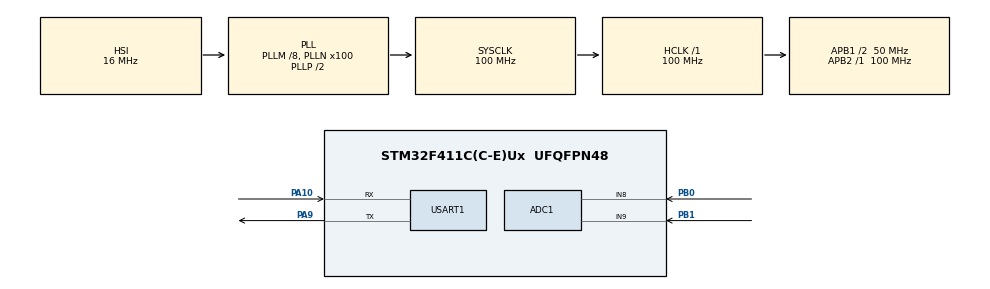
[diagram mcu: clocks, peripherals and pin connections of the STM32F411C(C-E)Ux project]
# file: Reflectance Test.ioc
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ADC1.Channel-0\#ChannelRegularConversion=ADC_CHANNEL_8
ADC1.Channel-1\#ChannelRegularConversion=ADC_CHANNEL_9
ADC1.ContinuousConvMode=ENABLE
ADC1.DMAContinuousRequests=DISABLE
ADC1.NbrOfConversion=2
ADC1.NbrOfConversionFlag=1
ADC1.Rank-0\#ChannelRegularConversion=1
ADC1.Rank-1\#ChannelRegularConversion=2
ADC1.SamplingTime-0\#ChannelRegularConversion=ADC_SAMPLETIME_480CYCLES
ADC1.SamplingTime-1\#ChannelRegularConversion=ADC_SAMPLETIME_480CYCLES
ADC1.master=1
Mcu.Family=STM32F4
Mcu.Name=STM32F411C(C-E)Ux
Mcu.Package=UFQFPN48
NVIC.ADC_IRQn=true\:0\:0\:false\:false\:true\:true\:true\:true
NVIC.PriorityGroup=NVIC_PRIORITYGROUP_4
NVIC.USART1_IRQn=true\:0\:0\:false\:false\:true\:true\:true\:true
PA10.Mode=Asynchronous
PA10.Signal=USART1_RX
PA13.Mode=Serial_Wire
PA13.Signal=SYS_JTMS-SWDIO
PA14.Mode=Serial_Wire
PA14.Signal=SYS_JTCK-SWCLK
PA9.Mode=Asynchronous
PA9.Signal=USART1_TX
PB0.Signal=ADCx_IN8
PB1.Signal=ADCx_IN9
PH0\ -\ OSC_IN.Mode=HSE-External-Oscillator
PH0\ -\ OSC_IN.Signal=RCC_OSC_IN
PH1\ -\ OSC_OUT.Mode=HSE-External-Oscillator
PH1\ -\ OSC_OUT.Signal=RCC_OSC_OUT
ProjectManager.HeapSize=0x200
ProjectManager.StackSize=0x400
ProjectManager.TargetToolchain=STM32CubeIDE
RCC.48MHZClocksFreq_Value=50000000
RCC.AHBFreq_Value=100000000
RCC.APB1CLKDivider=RCC_HCLK_DIV2
RCC.APB1Freq_Value=50000000
RCC.APB1TimFreq_Value=100000000
RCC.APB2Freq_Value=100000000
RCC.APB2TimFreq_Value=100000000
RCC.CortexFreq_Value=100000000
RCC.HCLKFreq_Value=100000000
RCC.HSE_VALUE=25000000
RCC.HSI_VALUE=16000000
RCC.LSE_VALUE=32768
RCC.PLLM=8
RCC.PLLN=100
RCC.SYSCLKFreq_VALUE=100000000
RCC.SYSCLKSource=RCC_SYSCLKSOURCE_PLLCLK
RCC.VCOOutputFreq_Value=200000000
SH.ADCx_IN8.0=ADC1_IN8,IN8
SH.ADCx_IN9.0=ADC1_IN9,IN9
USART1.VirtualMode=VM_ASYNC
board=custom

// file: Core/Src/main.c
/* USER CODE BEGIN Header */
/**
  ******************************************************************************
  * @file           : main.c
  * @brief          : Main program body
  ******************************************************************************
  * @attention
  *
  * Copyright (c) 2022 STMicroelectronics.
  * All rights reserved.
  *
  * This software is licensed under terms that can be found in the LICENSE file
  * in the root directory of this software component.
  * If no LICENSE file comes with this software, it is provided AS-IS.
  *
  ******************************************************************************
  */
/* USER CODE END Header */
#include "main.h"

/* USER CODE BEGIN Includes */
#include "string.h"
#include "stdio.h"
/* USER CODE END Includes */

 ADC_HandleTypeDef hadc1;

UART_HandleTypeDef huart1;

void SystemClock_Config(void);
static void MX_GPIO_Init(void);
static void MX_ADC1_Init(void);
static void MX_USART1_UART_Init(void);

/* USER CODE BEGIN 0 */

void ADC_Select_CH8(void)
{
	  ADC_ChannelConfTypeDef sConfig = {0};
	  sConfig.Channel = ADC_CHANNEL_8;
	  sConfig.Rank = 1;
	  sConfig.SamplingTime = ADC_SAMPLETIME_480CYCLES;
	  if (HAL_ADC_ConfigChannel(&hadc1, &sConfig) != HAL_OK)
	  {
	    Error_Handler();
	  }
}

void ADC_Select_CH9(void)
{
	  ADC_ChannelConfTypeDef sConfig = {0};
	  sConfig.Channel = ADC_CHANNEL_9;
	  sConfig.Rank = 1;
	  sConfig.SamplingTime = ADC_SAMPLETIME_480CYCLES;
	  if (HAL_ADC_ConfigChannel(&hadc1, &sConfig) != HAL_OK)
	  {
	    Error_Handler();
	  }
}

uint16_t ADC_VAL[2] = {0};

/* USER CODE END 0 */

int main(void)
{
  /* USER CODE BEGIN 1 */
	uint8_t buff[24] = {0};
	uint32_t value[2] = {0};
	HAL_StatusTypeDef ret;
  /* USER CODE END 1 */

  /* MCU Configuration--------------------------------------------------------*/

  /* Reset of all peripherals, Initializes the Flash interface and the Systick. */
  HAL_Init();

  /* Configure the system clock */
  SystemClock_Config();

  /* Initialize all configured peripherals */
  MX_GPIO_Init();
  MX_ADC1_Init();
  MX_USART1_UART_Init();

  /* Infinite loop */
  while (1)
  {

    /* USER CODE BEGIN 3 */
	  ADC_Select_CH8();
	  HAL_ADC_Start(&hadc1);
	  HAL_ADC_PollForConversion(&hadc1, 1000);
	  ADC_VAL[0] = HAL_ADC_GetValue(&hadc1);
	  HAL_ADC_Stop(&hadc1);

	  ADC_Select_CH9();
	  HAL_ADC_Start(&hadc1);
	  HAL_ADC_PollForConversion(&hadc1, 1000);
	  ADC_VAL[1] = HAL_ADC_GetValue(&hadc1);
	  HAL_ADC_Stop(&hadc1);

	  sprintf((char*)buff, "B0 Reading: %d\n\rB1 Reading:%d\n\r", ADC_VAL[0], ADC_VAL[1]);
	  ret = HAL_UART_Transmit(&huart1, buff, strlen((char*)buff), HAL_MAX_DELAY);
	  HAL_Delay(100);
  }
  /* USER CODE END 3 */
}

void SystemClock_Config(void)
{
  RCC_OscInitTypeDef RCC_OscInitStruct = {0};
  RCC_ClkInitTypeDef RCC_ClkInitStruct = {0};

  /** Configure the main internal regulator output voltage
  */
  __HAL_RCC_PWR_CLK_ENABLE();
  __HAL_PWR_VOLTAGESCALING_CONFIG(PWR_REGULATOR_VOLTAGE_SCALE1);

  /** Initializes the RCC Oscillators according to the specified parameters
  * in the RCC_OscInitTypeDef structure.
  */
  RCC_OscInitStruct.OscillatorType = RCC_OSCILLATORTYPE_HSI;
  RCC_OscInitStruct.HSIState = RCC_HSI_ON;
  RCC_OscInitStruct.HSICalibrationValue = RCC_HSICALIBRATION_DEFAULT;
  RCC_OscInitStruct.PLL.PLLState = RCC_PLL_ON;
  RCC_OscInitStruct.PLL.PLLSource = RCC_PLLSOURCE_HSI;
  RCC_OscInitStruct.PLL.PLLM = 8;
  RCC_OscInitStruct.PLL.PLLN = 100;
  RCC_OscInitStruct.PLL.PLLP = RCC_PLLP_DIV2;
  RCC_OscInitStruct.PLL.PLLQ = 4;
  if (HAL_RCC_OscConfig(&RCC_OscInitStruct) != HAL_OK)
  {
    Error_Handler();
  }

  /** Initializes the CPU, AHB and APB buses clocks
  */
  RCC_ClkInitStruct.ClockType = RCC_CLOCKTYPE_HCLK|RCC_CLOCKTYPE_SYSCLK
                              |RCC_CLOCKTYPE_PCLK1|RCC_CLOCKTYPE_PCLK2;
  RCC_ClkInitStruct.SYSCLKSource = RCC_SYSCLKSOURCE_PLLCLK;
  RCC_ClkInitStruct.AHBCLKDivider = RCC_SYSCLK_DIV1;
  RCC_ClkInitStruct.APB1CLKDivider = RCC_HCLK_DIV2;
  RCC_ClkInitStruct.APB2CLKDivider = RCC_HCLK_DIV1;

  if (HAL_RCC_ClockConfig(&RCC_ClkInitStruct, FLASH_LATENCY_3) != HAL_OK)
  {
    Error_Handler();
  }
}

static void MX_ADC1_Init(void)
{

  ADC_ChannelConfTypeDef sConfig = {0};

  /** Configure the global features of the ADC (Clock, Resolution, Data Alignment and number of conversion)
  */
  hadc1.Instance = ADC1;
  hadc1.Init.ClockPrescaler = ADC_CLOCK_SYNC_PCLK_DIV4;
  hadc1.Init.Resolution = ADC_RESOLUTION_12B;
  hadc1.Init.ScanConvMode = ENABLE;
  hadc1.Init.ContinuousConvMode = ENABLE;
  hadc1.Init.DiscontinuousConvMode = DISABLE;
  hadc1.Init.ExternalTrigConvEdge = ADC_EXTERNALTRIGCONVEDGE_NONE;
  hadc1.Init.ExternalTrigConv = ADC_SOFTWARE_START;
  hadc1.Init.DataAlign = ADC_DATAALIGN_RIGHT;
  hadc1.Init.NbrOfConversion = 1;
  hadc1.Init.DMAContinuousRequests = DISABLE;
  hadc1.Init.EOCSelection = ADC_EOC_SINGLE_CONV;
  if (HAL_ADC_Init(&hadc1) != HAL_OK)
  {
    Error_Handler();
  }

//  /** Configure for the selected ADC regular channel its corresponding rank in the sequencer and its sample time.
//  */
//  sConfig.Channel = ADC_CHANNEL_8;
//  sConfig.Rank = 1;
//  sConfig.SamplingTime = ADC_SAMPLETIME_480CYCLES;
//  if (HAL_ADC_ConfigChannel(&hadc1, &sConfig) != HAL_OK)
//  {
//    Error_Handler();
//  }
//
//  /** Configure for the selected ADC regular channel its corresponding rank in the sequencer and its sample time.
//  */
//  sConfig.Channel = ADC_CHANNEL_9;
//  sConfig.Rank = 2;
//  if (HAL_ADC_ConfigChannel(&hadc1, &sConfig) != HAL_OK)
//  {
//    Error_Handler();
//  }

}

static void MX_USART1_UART_Init(void)
{

  huart1.Instance = USART1;
  huart1.Init.BaudRate = 115200;
  huart1.Init.WordLength = UART_WORDLENGTH_8B;
  huart1.Init.StopBits = UART_STOPBITS_1;
  huart1.Init.Parity = UART_PARITY_NONE;
  huart1.Init.Mode = UART_MODE_TX_RX;
  huart1.Init.HwFlowCtl = UART_HWCONTROL_NONE;
  huart1.Init.OverSampling = UART_OVERSAMPLING_16;
  if (HAL_UART_Init(&huart1) != HAL_OK)
  {
    Error_Handler();
  }

}

static void MX_GPIO_Init(void)
{

  /* GPIO Ports Clock Enable */
  __HAL_RCC_GPIOH_CLK_ENABLE();
  __HAL_RCC_GPIOB_CLK_ENABLE();
  __HAL_RCC_GPIOA_CLK_ENABLE();

}

/* USER CODE BEGIN 4 */
//void ADC_Select_CH8 (void)
//{
//	ADC_ChannelConfTypeDef sConfig = {0};
//	  /** Configure for the selected ADC regular channel its corresponding rank in the sequencer and its sample time.
//	  */
//
//	  sConfig.Channel = ADC_CHANNEL_8;
//	  sConfig.Rank = 1;
//	  sConfig.SamplingTime = ADC_SAMPLETIME_28CYCLES;
//	  if (HAL_ADC_ConfigChannel(&hadc1, &sConfig) != HAL_OK)
//	  {
//		Error_Handler();
//	  }
//	  sConfig.Channel = ADC_CHANNEL_9;
//	  sConfig.Rank = 0;
//	  sConfig.SamplingTime = ADC_SAMPLETIME_28CYCLES;
//	  if (HAL_ADC_ConfigChannel(&hadc1, &sConfig) != HAL_OK)
//	  {
//		Error_Handler();
//	  }
//}

//void ADC_Select_CH9 (void)
//{
//	ADC_ChannelConfTypeDef sConfig = {0};
//	  /** Configure for the selected ADC regular channel its corresponding rank in the sequencer and its sample time.
//	  */
//
//	  sConfig.Channel = ADC_CHANNEL_8;
//	  sConfig.Rank = 0;
//	  sConfig.SamplingTime = ADC_SAMPLETIME_28CYCLES;
//	  if (HAL_ADC_ConfigChannel(&hadc1, &sConfig) != HAL_OK)
//	  {
//		Error_Handler();
//	  }
//	  sConfig.Channel = ADC_CHANNEL_9;
//	  sConfig.Rank = 1;
//	  sConfig.SamplingTime = ADC_SAMPLETIME_28CYCLES;
//	  if (HAL_ADC_ConfigChannel(&hadc1, &sConfig) != HAL_OK)
//	  {
//		Error_Handler();
//	  }
//}
/* USER CODE END 4 */

void Error_Handler(void)
{
  __disable_irq();
  while (1)
  {
  }
}
